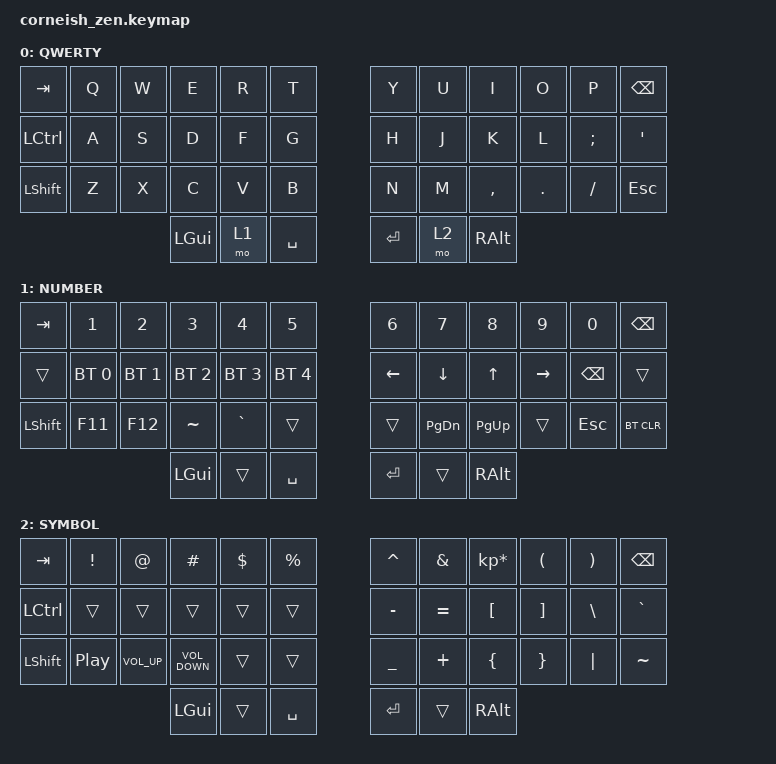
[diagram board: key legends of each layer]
#include <behaviors.dtsi>
#include <dt-bindings/zmk/keys.h>
#include <dt-bindings/zmk/bt.h>

/ {
  chosen {
      zmk,physical-layout = &foostan_corne_6col_layout;
        // zmk,physical-layout = &foostan_corne_5col_layout;
  };
};

/ {


    behaviors {
        hm: homerow_mods {
            compatible = "zmk,behavior-hold-tap";
            label = "HOMEROW_MODS";
            #binding-cells = <2>;
            tapping-term-ms = <150>;
            quick-tap-ms = <0>;
            flavor = "tap-preferred";
            bindings = <&kp>, <&kp>;
        };
    };

        keymap {
                compatible = "zmk,keymap";

                default_layer {
                        label = "QWERTY";
// -----------------------------------------------------------------------------------------
// |  TAB |  Q  |  W  |  E  |  R  |  T  |   |  Y  |  U   |  I  |  O  |  P  | BKSP |
// | CTRL |  A  |  S  |  D  |  F  |  G  |   |  H  |  J   |  K  |  L  |  ;  |  '   |
// | SHFT |  Z  |  X  |  C  |  V  |  B  |   |  N  |  M   |  ,  |  .  |  /  | ESC  |
//                    | GUI | LWR | SPC |   | ENT | RSE  | ALT |
                        bindings = <
   &kp TAB   &kp Q &kp W &kp E &kp R &kp T   &kp Y &kp U  &kp I     &kp O   &kp P    &kp BSPC
   &kp LCTRL &kp A &kp S &kp D &kp F &kp G    &kp H &kp J  &kp K     &kp L   &kp SEMI &kp SQT
  //&kp LCTRL &kp A &kp S &kp D &kp F &kp G   &kp H &kp J  &kp K     &kp L   &kp SEMI &kp SQT
   &kp LSHFT &kp Z &kp X &kp C &kp V &kp B   &kp N &kp M  &kp COMMA &kp DOT &kp FSLH &kp ESC
                  &kp LGUI &mo 1 &kp SPACE   &kp RET &mo 2 &kp RALT
                        >;
                };
                lower_layer {
                        label = "NUMBER";
// -----------------------------------------------------------------------------------------
// |  TAB |  1  |  2  |  3  |  4  |  5  |   |  6  |  7  |  8  |  9  |  0  | BKSP |
// |      | BT1 | BT2 | BT3 | BT4 | BT5 |   | LFT | DWN |  UP | RGT | BKSP|      |
// | SHFT | F11 | F12 |  `  |  ~  |     |   |     | PAGE_DOWN |  PAGE_UP  |     | ESC | BTCLR |
//                    | GUI |     | SPC |   | ENT |     | ALT |
                        bindings = <
   &kp TAB    &kp N1       &kp N2       &kp N3       &kp N4       &kp N5         &kp N6   &kp N7   &kp N8 &kp N9    &kp N0 &kp BSPC
   &trans &bt BT_SEL 0 &bt BT_SEL 1 &bt BT_SEL 2 &bt BT_SEL 3 &bt BT_SEL 4   &kp LEFT &kp DOWN &kp UP &kp RIGHT &kp BSPC &trans
   &kp LSHFT  &kp F11       &kp F12       &kp TILDE       &kp GRAVE       &trans         &trans   &kp PAGE_DOWN &kp PAGE_UP &trans    &kp ESC &bt BT_CLR
                          	        &kp LGUI     &trans       &kp SPACE      &kp RET  &trans   &kp RALT
                        >;
                };

                raise_layer {
                        label = "SYMBOL";
// -----------------------------------------------------------------------------------------
// |  TAB |  !  |  @  |  #  |  $  |  %  |   |  ^  |  &  |  *  |  (  |  )  | BKSP |
// | CTRL |     |     |     |     |     |   |  -  |  =  |  [  |  ]  |  \  |  `   |
// | SHFT |  pp | vUP | vDO |     |     |   |  _  |  +  |  {  |  }  | "|" |  ~   |
//                    | GUI |     | SPC |   | ENT |     | ALT |
                        bindings = <
   &kp  TAB  &kp EXCL &kp AT &kp HASH &kp DLLR &kp PRCNT   &kp CARET &kp AMPS  &kp KP_MULTIPLY &kp LPAR &kp RPAR &kp BSPC
   &kp LCTRL &trans   &trans &trans   &trans   &trans      &kp MINUS &kp EQUAL &kp LBKT        &kp RBKT &kp BSLH &kp GRAVE
   &kp LSHFT &kp C_PLAY_PAUSE &kp K_VOLUME_UP &kp K_VOLUME_DOWN &trans   &trans      &kp UNDER &kp PLUS  &kp LBRC        &kp RBRC &kp PIPE &kp TILDE
                    	     &kp LGUI &trans   &kp SPACE   &kp RET   &trans    &kp RALT
                        >;
                };
        };
};
